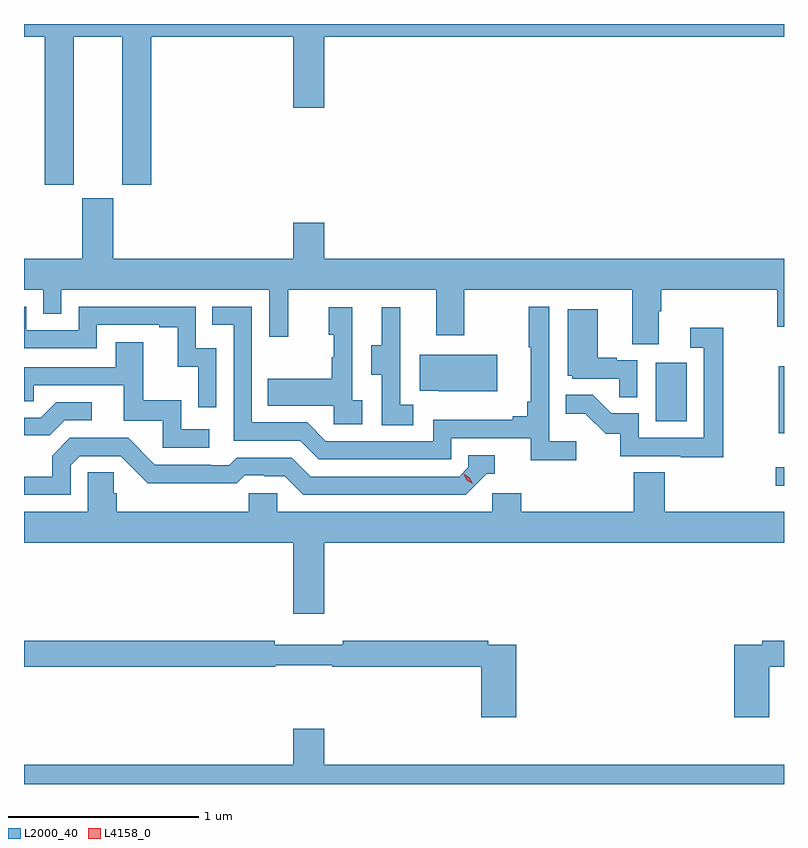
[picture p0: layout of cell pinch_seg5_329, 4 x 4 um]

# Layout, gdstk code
import gdstk
lib = gdstk.Library(unit=1e-6, precision=1e-09)
def R(c, l, rs):  # rectangles x0, y0, x1, y1
    for r in rs: c.add(gdstk.rectangle(r[:2], r[2:], *l))
def P(c, l, *ps):  # polygons
    for p in ps: c.add(gdstk.Polygon(p, *l))
L2000_40 = (2000, 40)
L4158_0 = (4158, 0)

pinch_seg5_329 = lib.new_cell('pinch_seg5_329')
R(pinch_seg5_329, L2000_40, [(946.767,882.368,946.811,882.465), (946.784,882.644,946.811,882.997), (946.136,882.708,946.3,883.015)])
P(pinch_seg5_329, L2000_40, [(943.072,884.732),(943.328,884.732),(943.328,883.953),(943.481,883.953),(943.481,884.732),(944.228,884.732),(944.228,884.358),(944.392,884.358),(944.392,884.732),(946.811,884.732),(946.811,884.799),(942.811,884.799),(942.811,884.732),(942.92,884.732),(942.92,883.953),(943.072,883.953)],
  [(946.153,883.288),(946.166,883.288),(946.166,883.4),(946.775,883.4),(946.775,883.206),(946.811,883.206),(946.811,883.564),(944.392,883.564),(944.392,883.753),(944.228,883.753),(944.228,883.564),(943.282,883.564),(943.282,883.881),(943.118,883.881),(943.118,883.564),(942.811,883.564),(942.811,883.4),(942.912,883.4),(942.912,883.273),(943.008,883.273),(943.008,883.4),(944.103,883.4),(944.103,883.152),(944.201,883.152),(944.201,883.4),(944.981,883.4),(944.981,883.161),(945.129,883.161),(945.129,883.4),(946.013,883.4),(946.013,883.114),(946.153,883.114)],
  [(945.718,882.604),(945.576,882.604),(945.576,883.312),(945.468,883.312),(945.468,883.099),(945.479,883.099),(945.479,882.811),(945.46,882.811),(945.46,882.734),(945.383,882.734),(945.383,882.715),(944.964,882.715),(944.964,882.603),(944.4,882.603),(944.301,882.702),(944.01,882.702),(944.01,883.311),(943.801,883.311),(943.801,883.215),(943.914,883.215),(943.914,882.606),(944.264,882.606),(944.363,882.507),(945.06,882.507),(945.06,882.618),(945.479,882.618),(945.479,882.502),(945.718,882.502)],
  [(943.824,883.092),(943.716,883.092),(943.716,883.311),(943.098,883.311),(943.098,883.188),(942.822,883.188),(942.822,883.311),(942.811,883.311),(942.811,883.092),(943.194,883.092),(943.194,883.215),(943.523,883.215),(943.523,883.203),(943.619,883.203),(943.619,882.995),(943.728,882.995),(943.728,882.783),(943.824,882.783)],
  [(944.59,882.818),(944.538,882.818),(944.538,883.309),(944.414,883.309),(944.414,883.164),(944.44,883.164),(944.44,883.046),(944.43,883.046),(944.43,882.931),(944.095,882.931),(944.095,882.791),(944.442,882.791),(944.442,882.693),(944.59,882.693)],
  [(944.86,882.795),(944.79,882.795),(944.79,883.095),(944.792,883.095),(944.792,883.309),(944.693,883.309),(944.693,883.107),(944.639,883.107),(944.639,882.952),(944.694,882.952),(944.694,882.688),(944.86,882.688)],
  [(946.038,883.029),(945.932,883.029),(945.932,883.042),(945.832,883.042),(945.832,883.297),(945.674,883.297),(945.674,882.948),(945.696,882.948),(945.696,882.933),(945.943,882.933),(945.943,882.835),(946.038,882.835)],
  [(946.49,883.201),(946.317,883.201),(946.317,883.095),(946.389,883.095),(946.389,882.621),(946.047,882.621),(946.047,882.75),(945.903,882.75),(945.805,882.848),(945.661,882.848),(945.661,882.749),(945.765,882.749),(945.872,882.642),(945.949,882.642),(945.949,882.525),(946.267,882.525),(946.267,882.52),(946.49,882.52)],
  [(943.786,882.666),(943.638,882.666),(943.638,882.82),(943.439,882.82),(943.439,883.123),(943.295,883.123),(943.295,882.993),(942.811,882.993),(942.811,882.813),(942.863,882.813),(942.863,882.897),(943.337,882.897),(943.337,882.711),(943.542,882.711),(943.542,882.57),(943.786,882.57)],
  [(945.301,883.057),(944.893,883.057),(944.893,882.869),(944.995,882.869),(944.995,882.866),(945.301,882.866)],
  [(943.026,882.714),(943.168,882.714),(943.168,882.807),(942.98,882.807),(942.899,882.726),(942.811,882.726),(942.811,882.634),(942.946,882.634)],
  [(943.056,882.477),(943.104,882.525),(943.32,882.525),(943.462,882.383),(943.698,882.383),(943.698,882.381),(943.931,882.381),(943.973,882.423),(944.076,882.423),(944.076,882.42),(944.183,882.42),(944.282,882.321),(945.135,882.321),(945.246,882.432),(945.289,882.432),(945.289,882.528),(945.15,882.528),(945.15,882.465),(945.102,882.417),(944.319,882.417),(944.22,882.516),(943.931,882.516),(943.892,882.477),(943.793,882.477),(943.793,882.48),(943.5,882.48),(943.359,882.621),(943.053,882.621),(942.959,882.527),(942.959,882.417),(942.811,882.417),(942.811,882.321),(943.056,882.321)],
  [(944.392,882.068),(946.811,882.068),(946.811,882.232),(946.184,882.232),(946.184,882.44),(946.019,882.44),(946.019,882.232),(945.428,882.232),(945.428,882.33),(945.276,882.33),(945.276,882.232),(944.145,882.232),(944.145,882.33),(943.995,882.33),(943.995,882.232),(943.298,882.232),(943.298,882.33),(943.283,882.33),(943.283,882.44),(943.146,882.44),(943.146,882.232),(942.811,882.232),(942.811,882.068),(944.228,882.068),(944.228,881.694),(944.392,881.694)],
  [(945.401,881.532),(945.254,881.532),(945.254,881.552),(944.488,881.552),(944.488,881.533),(944.132,881.533),(944.132,881.552),(942.811,881.552),(942.811,881.416),(944.134,881.416),(944.134,881.424),(944.434,881.424),(944.434,881.416),(945.218,881.416),(945.218,881.151),(945.401,881.151)],
  [(946.733,881.416),(946.811,881.416),(946.811,881.552),(946.696,881.552),(946.696,881.532),(946.55,881.532),(946.55,881.151),(946.733,881.151)],
  [(946.811,880.9),(944.392,880.9),(944.392,881.089),(944.228,881.089),(944.228,880.9),(942.811,880.9),(942.811,880.799),(946.811,880.799)])
P(pinch_seg5_329, L4158_0, [(945.173,882.378),(945.142,882.398),(945.126,882.431),(945.126,882.431),(945.126,882.431),(945.157,882.411),(945.173,882.379),(945.173,882.378)])

lib.write_gds('pinch_seg5_329.gds')
